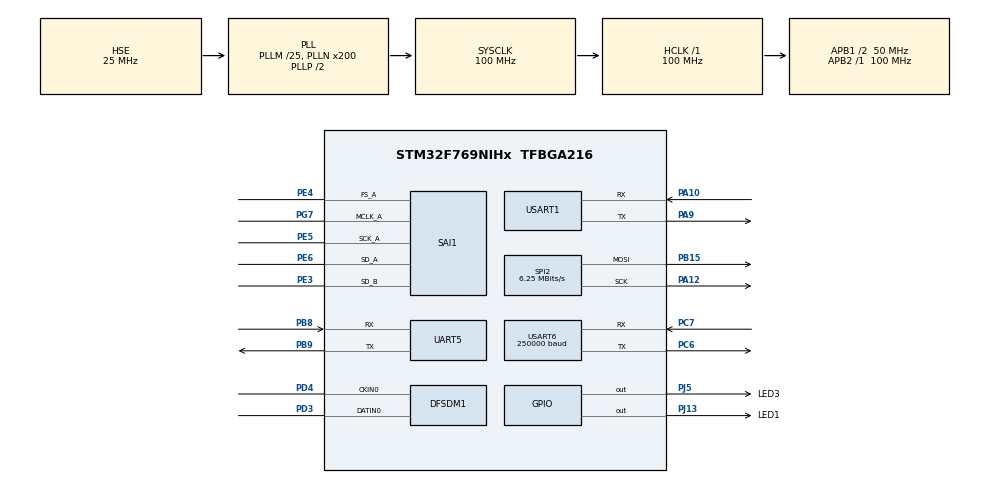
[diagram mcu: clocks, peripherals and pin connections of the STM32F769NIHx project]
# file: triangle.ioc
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Dma.Request0=USART6_RX
Dma.Request1=USART1_TX
Dma.Request2=SAI1_A
Dma.Request3=SAI1_B
Dma.Request4=UART5_TX
Dma.Request5=SPI2_TX
Dma.SAI1_A.2.Direction=DMA_MEMORY_TO_PERIPH
Dma.SAI1_A.2.FIFOMode=DMA_FIFOMODE_DISABLE
Dma.SAI1_A.2.Instance=DMA2_Stream3
Dma.SAI1_A.2.MemDataAlignment=DMA_MDATAALIGN_HALFWORD
Dma.SAI1_A.2.MemInc=DMA_MINC_ENABLE
Dma.SAI1_A.2.Mode=DMA_CIRCULAR
Dma.SAI1_A.2.PeriphDataAlignment=DMA_PDATAALIGN_HALFWORD
Dma.SAI1_A.2.PeriphInc=DMA_PINC_DISABLE
Dma.SAI1_A.2.Priority=DMA_PRIORITY_LOW
Dma.SAI1_B.3.Direction=DMA_PERIPH_TO_MEMORY
Dma.SAI1_B.3.FIFOMode=DMA_FIFOMODE_DISABLE
Dma.SAI1_B.3.Instance=DMA2_Stream0
Dma.SAI1_B.3.MemDataAlignment=DMA_MDATAALIGN_HALFWORD
Dma.SAI1_B.3.MemInc=DMA_MINC_ENABLE
Dma.SAI1_B.3.Mode=DMA_CIRCULAR
Dma.SAI1_B.3.PeriphDataAlignment=DMA_PDATAALIGN_HALFWORD
Dma.SAI1_B.3.PeriphInc=DMA_PINC_DISABLE
Dma.SAI1_B.3.Priority=DMA_PRIORITY_LOW
Dma.SPI2_TX.5.Direction=DMA_MEMORY_TO_PERIPH
Dma.SPI2_TX.5.FIFOMode=DMA_FIFOMODE_ENABLE
Dma.SPI2_TX.5.FIFOThreshold=DMA_FIFO_THRESHOLD_HALFFULL
Dma.SPI2_TX.5.Instance=DMA1_Stream4
Dma.SPI2_TX.5.MemBurst=DMA_MBURST_SINGLE
Dma.SPI2_TX.5.MemDataAlignment=DMA_MDATAALIGN_BYTE
Dma.SPI2_TX.5.MemInc=DMA_MINC_ENABLE
Dma.SPI2_TX.5.Mode=DMA_NORMAL
Dma.SPI2_TX.5.PeriphBurst=DMA_PBURST_SINGLE
Dma.SPI2_TX.5.PeriphDataAlignment=DMA_PDATAALIGN_BYTE
Dma.SPI2_TX.5.PeriphInc=DMA_PINC_DISABLE
Dma.SPI2_TX.5.Priority=DMA_PRIORITY_LOW
Dma.UART5_TX.4.Direction=DMA_MEMORY_TO_PERIPH
Dma.UART5_TX.4.FIFOMode=DMA_FIFOMODE_DISABLE
Dma.UART5_TX.4.Instance=DMA1_Stream7
Dma.UART5_TX.4.MemDataAlignment=DMA_MDATAALIGN_BYTE
Dma.UART5_TX.4.MemInc=DMA_MINC_ENABLE
Dma.UART5_TX.4.Mode=DMA_NORMAL
Dma.UART5_TX.4.PeriphDataAlignment=DMA_PDATAALIGN_BYTE
Dma.UART5_TX.4.PeriphInc=DMA_PINC_DISABLE
Dma.UART5_TX.4.Priority=DMA_PRIORITY_LOW
Dma.USART1_TX.1.Direction=DMA_MEMORY_TO_PERIPH
Dma.USART1_TX.1.FIFOMode=DMA_FIFOMODE_DISABLE
Dma.USART1_TX.1.Instance=DMA2_Stream7
Dma.USART1_TX.1.MemDataAlignment=DMA_MDATAALIGN_BYTE
Dma.USART1_TX.1.MemInc=DMA_MINC_ENABLE
Dma.USART1_TX.1.Mode=DMA_NORMAL
Dma.USART1_TX.1.PeriphDataAlignment=DMA_PDATAALIGN_BYTE
Dma.USART1_TX.1.PeriphInc=DMA_PINC_DISABLE
Dma.USART1_TX.1.Priority=DMA_PRIORITY_LOW
Dma.USART6_RX.0.Direction=DMA_PERIPH_TO_MEMORY
Dma.USART6_RX.0.FIFOMode=DMA_FIFOMODE_DISABLE
Dma.USART6_RX.0.Instance=DMA2_Stream1
Dma.USART6_RX.0.MemDataAlignment=DMA_MDATAALIGN_BYTE
Dma.USART6_RX.0.MemInc=DMA_MINC_ENABLE
Dma.USART6_RX.0.Mode=DMA_NORMAL
Dma.USART6_RX.0.PeriphDataAlignment=DMA_PDATAALIGN_BYTE
Dma.USART6_RX.0.PeriphInc=DMA_PINC_DISABLE
Dma.USART6_RX.0.Priority=DMA_PRIORITY_LOW
FREERTOS.Tasks01=defaultTask,24,128,StartDefaultTask,Default,NULL,Dynamic,NULL,NULL
FREERTOS.configENABLE_BACKWARD_COMPATIBILITY=1
FREERTOS.configENABLE_FPU=1
Mcu.Family=STM32F7
Mcu.Name=STM32F769NIHx
Mcu.Package=TFBGA216
NVIC.DMA1_Stream4_IRQn=true\:5\:0\:false\:false\:true\:true\:false\:true\:true
NVIC.DMA1_Stream7_IRQn=true\:5\:0\:false\:false\:true\:true\:false\:true\:true
NVIC.DMA2_Stream0_IRQn=true\:5\:0\:false\:false\:true\:true\:false\:true\:true
NVIC.DMA2_Stream1_IRQn=true\:5\:0\:false\:false\:true\:true\:false\:true\:true
NVIC.DMA2_Stream3_IRQn=true\:5\:0\:false\:false\:true\:true\:false\:true\:true
NVIC.DMA2_Stream7_IRQn=true\:5\:0\:false\:false\:true\:true\:false\:true\:true
NVIC.PriorityGroup=NVIC_PRIORITYGROUP_4
NVIC.SAI1_IRQn=true\:5\:0\:false\:false\:true\:true\:true\:true\:true
NVIC.TIM8_TRG_COM_TIM14_IRQn=true\:15\:0\:false\:false\:true\:false\:false\:true\:true
NVIC.TimeBase=TIM8_TRG_COM_TIM14_IRQn
NVIC.TimeBaseIP=TIM14
NVIC.UART5_IRQn=true\:5\:0\:false\:false\:true\:true\:true\:true\:true
NVIC.USART1_IRQn=true\:5\:0\:false\:false\:true\:true\:true\:true\:true
NVIC.USART6_IRQn=true\:5\:0\:false\:false\:true\:true\:true\:true\:true
PA10.Mode=Asynchronous
PA10.Signal=USART1_RX
PA12.Mode=TX_Only_Simplex_Unidirect_Master
PA12.Signal=SPI2_SCK
PA13.Mode=Serial_Wire
PA13.Signal=SYS_JTMS-SWDIO
PA14.Mode=Serial_Wire
PA14.Signal=SYS_JTCK-SWCLK
PA9.Mode=Asynchronous
PA9.Signal=USART1_TX
PB15.Mode=TX_Only_Simplex_Unidirect_Master
PB15.Signal=SPI2_MOSI
PB8.Mode=Asynchronous
PB8.Signal=UART5_RX
PB9.Mode=Asynchronous
PB9.Signal=UART5_TX
PC6.Mode=Asynchronous
PC6.Signal=USART6_TX
PC7.Mode=Asynchronous
PC7.Signal=USART6_RX
PD3.Signal=S_DATAIN0DFSDM1
PD4.Signal=S_CKIN0DFSDM1
PE3.Mode=SAI_B_SyncSlave
PE3.Signal=SAI1_SD_B
PE4.Mode=SAI_A_MasterWithClock
PE4.Signal=SAI1_FS_A
PE5.Mode=SAI_A_MasterWithClock
PE5.Signal=SAI1_SCK_A
PE6.Mode=SAI_A_MasterWithClock
PE6.Signal=SAI1_SD_A
PG7.Mode=SAI_A_MasterWithClock
PG7.Signal=SAI1_MCLK_A
PH0/OSC_IN.Mode=HSE-External-Oscillator
PH0/OSC_IN.Signal=RCC_OSC_IN
PH1/OSC_OUT.Mode=HSE-External-Oscillator
PH1/OSC_OUT.Signal=RCC_OSC_OUT
PJ13.GPIO_Label=LED1
PJ13.GPIO_ModeDefaultOutputPP=GPIO_MODE_OUTPUT_PP
PJ13.GPIO_PuPd=GPIO_NOPULL
PJ13.PinState=GPIO_PIN_SET
PJ13.Signal=GPIO_Output
PJ5.GPIO_Label=LED3
PJ5.PinState=GPIO_PIN_RESET
PJ5.Signal=GPIO_Output
ProjectManager.HeapSize=0x200
ProjectManager.StackSize=0x400
ProjectManager.TargetToolchain=STM32CubeIDE
RCC.AHBFreq_Value=100000000
RCC.APB1CLKDivider=RCC_HCLK_DIV2
RCC.APB1Freq_Value=50000000
RCC.APB1TimFreq_Value=100000000
RCC.APB2Freq_Value=100000000
RCC.APB2TimFreq_Value=100000000
RCC.CortexFreq_Value=100000000
RCC.HCLKFreq_Value=100000000
RCC.HSE_VALUE=25000000
RCC.HSI_VALUE=16000000
RCC.LSE_VALUE=32768
RCC.PLLM=25
RCC.PLLN=200
RCC.PLLQ=4
RCC.PLLSAIN=344
RCC.PLLSAIQ=7
RCC.PLLSourceVirtual=RCC_PLLSOURCE_HSE
RCC.SYSCLKFreq_VALUE=100000000
RCC.SYSCLKSource=RCC_SYSCLKSOURCE_PLLCLK
RCC.USBFreq_Value=50000000
RCC.VCOOutputFreq_Value=200000000
SAI1.AudioFrequency-SAI_A_MasterWithClock=SAI_AUDIO_FREQUENCY_48K
SAI1.ErrorAudioFreq-SAI_A_MasterWithClock=-0.01 %
SAI1.InitProtocol-SAI_A_MasterWithClock=Enable
SAI1.InitProtocol-SAI_B_SyncSlave=Enable
SAI1.Instance-SAI_A_MasterWithClock=SAI$Index_Block_A
SAI1.Instance-SAI_B_SyncSlave=SAI$Index_Block_B
SAI1.MClockEnable-SAI_A_MasterWithClock=SAI_MASTERCLOCK_ENABLE
SAI1.OutputDrive-SAI_A_MasterWithClock=SAI_OUTPUTDRIVE_ENABLE
SAI1.RealAudioFreq-SAI_A_MasterWithClock=47.991 KHz
SAI1.TriState-SAI_A_MasterWithClock=SAI_OUTPUT_NOTRELEASED
SAI1.VirtualMode-SAI_A_MasterWithClock=VM_MASTER
SAI1.VirtualMode-SAI_B_SyncSlave=VM_SLAVE
SAI1.VirtualProtocol-SAI_A_BASIC=VM_BASIC_PROTOCOL
SAI1.VirtualProtocol-SAI_B_BASIC=VM_BASIC_PROTOCOL
SH.S_CKIN0DFSDM1.0=DFSDM1_CKIN0,PDM_SPI_input_from_ch0_and_external_clock
SH.S_DATAIN0DFSDM1.0=DFSDM1_DATIN0,PDM_SPI_input_from_ch0_and_external_clock
SPI2.BaudRatePrescaler=SPI_BAUDRATEPRESCALER_8
SPI2.CalculateBaudRate=6.25 MBits/s
SPI2.DataSize=SPI_DATASIZE_8BIT
SPI2.Direction=SPI_DIRECTION_2LINES
SPI2.Mode=SPI_MODE_MASTER
SPI2.NSSPMode=SPI_NSS_PULSE_DISABLE
SPI2.VirtualType=VM_MASTER
USART1.VirtualMode-Asynchronous=VM_ASYNC
USART6.AutoBaudRateEnableParam=UART_ADVFEATURE_AUTOBAUDRATE_DISABLE
USART6.BaudRate=250000
USART6.DMADisableonRxErrorParam=ADVFEATURE_DMA_DISABLEONRXERROR
USART6.Mode=MODE_RX
USART6.OverrunDisableParam=ADVFEATURE_OVERRUN_DISABLE
USART6.StopBits=STOPBITS_2
USART6.VirtualMode-Asynchronous=VM_ASYNC
VP_FREERTOS_VS_CMSIS_V2.Mode=CMSIS_V2
VP_SAI1_VP_$IpInstance_SAIA_SAI_BASIC.Mode=SAI_A_BASIC
VP_SAI1_VP_$IpInstance_SAIB_SAI_BASIC.Mode=SAI_B_BASIC
VP_SYS_VS_tim14.Mode=TIM14
board=STM32F769I-DISC1

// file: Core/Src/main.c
/* USER CODE BEGIN Header */
/**
  ******************************************************************************
  * @file           : main.c
  * @brief          : Main program body
  ******************************************************************************
  * @attention
  *
  * Copyright (c) 2023 STMicroelectronics.
  * All rights reserved.
  *
  * This software is licensed under terms that can be found in the LICENSE file
  * in the root directory of this software component.
  * If no LICENSE file comes with this software, it is provided AS-IS.
  *
  ******************************************************************************
  */
/* USER CODE END Header */
#include "main.h"
#include "cmsis_os.h"

/* USER CODE BEGIN Includes */
#include "stm32f7xx_ll_usart.h"
#include "dmx.h"
#include "audio.h"
#include "led.h"
/* USER CODE END Includes */

DFSDM_Channel_HandleTypeDef hdfsdm1_channel0;

SAI_HandleTypeDef hsai_BlockA1;
SAI_HandleTypeDef hsai_BlockB1;
DMA_HandleTypeDef hdma_sai1_a;
DMA_HandleTypeDef hdma_sai1_b;

SPI_HandleTypeDef hspi2;
DMA_HandleTypeDef hdma_spi2_tx;

UART_HandleTypeDef huart5;
UART_HandleTypeDef huart1;
UART_HandleTypeDef huart6;
DMA_HandleTypeDef hdma_uart5_tx;
DMA_HandleTypeDef hdma_usart1_tx;
DMA_HandleTypeDef hdma_usart6_rx;

/* Definitions for defaultTask */
osThreadId_t defaultTaskHandle;
const osThreadAttr_t defaultTask_attributes = {
  .name = "defaultTask",
  .stack_size = 128 * 4,
  .priority = (osPriority_t) osPriorityNormal,
};

void SystemClock_Config(void);
void PeriphCommonClock_Config(void);
static void MX_GPIO_Init(void);
static void MX_DMA_Init(void);
static void MX_USART6_UART_Init(void);
static void MX_USART1_UART_Init(void);
static void MX_SAI1_Init(void);
static void MX_DFSDM1_Init(void);
static void MX_UART5_Init(void);
static void MX_SPI2_Init(void);
void StartDefaultTask(void *argument);

int main(void)
{

  /* MCU Configuration--------------------------------------------------------*/

  /* Reset of all peripherals, Initializes the Flash interface and the Systick. */
  HAL_Init();

  /* Configure the system clock */
  SystemClock_Config();

/* Configure the peripherals common clocks */
  PeriphCommonClock_Config();

  /* Initialize all configured peripherals */
  MX_GPIO_Init();
  MX_DMA_Init();
  MX_USART6_UART_Init();
  MX_USART1_UART_Init();
  MX_SAI1_Init();
  MX_DFSDM1_Init();
  MX_UART5_Init();
  MX_SPI2_Init();

  /* Init scheduler */
  osKernelInitialize();

  /* Create the thread(s) */
  /* creation of defaultTask */
  defaultTaskHandle = osThreadNew(StartDefaultTask, NULL, &defaultTask_attributes);

  /* USER CODE BEGIN RTOS_THREADS */

  /* Init audio */
  AUDIO_Init(&hsai_BlockB1, &hsai_BlockA1);

  /* add threads, ... */
  /* USER CODE END RTOS_THREADS */

  /* Start scheduler */
  osKernelStart();

  /* We should never get here as control is now taken by the scheduler */
  /* Infinite loop */
  while (1)
  {

  }
}

void SystemClock_Config(void)
{
  RCC_OscInitTypeDef RCC_OscInitStruct = {0};
  RCC_ClkInitTypeDef RCC_ClkInitStruct = {0};

  /** Configure the main internal regulator output voltage
  */
  __HAL_RCC_PWR_CLK_ENABLE();
  __HAL_PWR_VOLTAGESCALING_CONFIG(PWR_REGULATOR_VOLTAGE_SCALE3);

  /** Initializes the RCC Oscillators according to the specified parameters
  * in the RCC_OscInitTypeDef structure.
  */
  RCC_OscInitStruct.OscillatorType = RCC_OSCILLATORTYPE_HSE;
  RCC_OscInitStruct.HSEState = RCC_HSE_ON;
  RCC_OscInitStruct.PLL.PLLState = RCC_PLL_ON;
  RCC_OscInitStruct.PLL.PLLSource = RCC_PLLSOURCE_HSE;
  RCC_OscInitStruct.PLL.PLLM = 25;
  RCC_OscInitStruct.PLL.PLLN = 200;
  RCC_OscInitStruct.PLL.PLLP = RCC_PLLP_DIV2;
  RCC_OscInitStruct.PLL.PLLQ = 4;
  RCC_OscInitStruct.PLL.PLLR = 2;
  if (HAL_RCC_OscConfig(&RCC_OscInitStruct) != HAL_OK)
  {
    Error_Handler();
  }

  /** Activate the Over-Drive mode
  */
  if (HAL_PWREx_EnableOverDrive() != HAL_OK)
  {
    Error_Handler();
  }

  /** Initializes the CPU, AHB and APB buses clocks
  */
  RCC_ClkInitStruct.ClockType = RCC_CLOCKTYPE_HCLK|RCC_CLOCKTYPE_SYSCLK
                              |RCC_CLOCKTYPE_PCLK1|RCC_CLOCKTYPE_PCLK2;
  RCC_ClkInitStruct.SYSCLKSource = RCC_SYSCLKSOURCE_PLLCLK;
  RCC_ClkInitStruct.AHBCLKDivider = RCC_SYSCLK_DIV1;
  RCC_ClkInitStruct.APB1CLKDivider = RCC_HCLK_DIV2;
  RCC_ClkInitStruct.APB2CLKDivider = RCC_HCLK_DIV1;

  if (HAL_RCC_ClockConfig(&RCC_ClkInitStruct, FLASH_LATENCY_3) != HAL_OK)
  {
    Error_Handler();
  }
}

void PeriphCommonClock_Config(void)
{
  RCC_PeriphCLKInitTypeDef PeriphClkInitStruct = {0};

  /** Initializes the peripherals clock
  */
  PeriphClkInitStruct.PeriphClockSelection = RCC_PERIPHCLK_SAI1;
  PeriphClkInitStruct.PLLSAI.PLLSAIN = 344;
  PeriphClkInitStruct.PLLSAI.PLLSAIR = 2;
  PeriphClkInitStruct.PLLSAI.PLLSAIQ = 7;
  PeriphClkInitStruct.PLLSAI.PLLSAIP = RCC_PLLSAIP_DIV2;
  PeriphClkInitStruct.PLLSAIDivQ = 1;
  PeriphClkInitStruct.PLLSAIDivR = RCC_PLLSAIDIVR_2;
  PeriphClkInitStruct.Sai1ClockSelection = RCC_SAI1CLKSOURCE_PLLSAI;
  if (HAL_RCCEx_PeriphCLKConfig(&PeriphClkInitStruct) != HAL_OK)
  {
    Error_Handler();
  }
}

static void MX_DFSDM1_Init(void)
{

  hdfsdm1_channel0.Instance = DFSDM1_Channel0;
  hdfsdm1_channel0.Init.OutputClock.Activation = DISABLE;
  hdfsdm1_channel0.Init.OutputClock.Selection = DFSDM_CHANNEL_OUTPUT_CLOCK_SYSTEM;
  hdfsdm1_channel0.Init.OutputClock.Divider = 2;
  hdfsdm1_channel0.Init.Input.Multiplexer = DFSDM_CHANNEL_EXTERNAL_INPUTS;
  hdfsdm1_channel0.Init.Input.DataPacking = DFSDM_CHANNEL_STANDARD_MODE;
  hdfsdm1_channel0.Init.Input.Pins = DFSDM_CHANNEL_SAME_CHANNEL_PINS;
  hdfsdm1_channel0.Init.SerialInterface.Type = DFSDM_CHANNEL_SPI_RISING;
  hdfsdm1_channel0.Init.SerialInterface.SpiClock = DFSDM_CHANNEL_SPI_CLOCK_EXTERNAL;
  hdfsdm1_channel0.Init.Awd.FilterOrder = DFSDM_CHANNEL_FASTSINC_ORDER;
  hdfsdm1_channel0.Init.Awd.Oversampling = 1;
  hdfsdm1_channel0.Init.Offset = 0;
  hdfsdm1_channel0.Init.RightBitShift = 0x00;
  if (HAL_DFSDM_ChannelInit(&hdfsdm1_channel0) != HAL_OK)
  {
    Error_Handler();
  }

}

static void MX_SAI1_Init(void)
{

  hsai_BlockA1.Instance = SAI1_Block_A;
  hsai_BlockA1.Init.AudioMode = SAI_MODEMASTER_TX;
  hsai_BlockA1.Init.Synchro = SAI_ASYNCHRONOUS;
  hsai_BlockA1.Init.OutputDrive = SAI_OUTPUTDRIVE_ENABLE;
  hsai_BlockA1.Init.NoDivider = SAI_MASTERDIVIDER_ENABLE;
  hsai_BlockA1.Init.FIFOThreshold = SAI_FIFOTHRESHOLD_EMPTY;
  hsai_BlockA1.Init.AudioFrequency = SAI_AUDIO_FREQUENCY_48K;
  hsai_BlockA1.Init.SynchroExt = SAI_SYNCEXT_DISABLE;
  hsai_BlockA1.Init.MonoStereoMode = SAI_STEREOMODE;
  hsai_BlockA1.Init.CompandingMode = SAI_NOCOMPANDING;
  hsai_BlockA1.Init.TriState = SAI_OUTPUT_NOTRELEASED;
  if (HAL_SAI_InitProtocol(&hsai_BlockA1, SAI_I2S_STANDARD, SAI_PROTOCOL_DATASIZE_16BIT, 2) != HAL_OK)
  {
    Error_Handler();
  }
  hsai_BlockB1.Instance = SAI1_Block_B;
  hsai_BlockB1.Init.AudioMode = SAI_MODESLAVE_RX;
  hsai_BlockB1.Init.Synchro = SAI_SYNCHRONOUS;
  hsai_BlockB1.Init.OutputDrive = SAI_OUTPUTDRIVE_DISABLE;
  hsai_BlockB1.Init.FIFOThreshold = SAI_FIFOTHRESHOLD_EMPTY;
  hsai_BlockB1.Init.SynchroExt = SAI_SYNCEXT_DISABLE;
  hsai_BlockB1.Init.MonoStereoMode = SAI_STEREOMODE;
  hsai_BlockB1.Init.CompandingMode = SAI_NOCOMPANDING;
  hsai_BlockB1.Init.TriState = SAI_OUTPUT_NOTRELEASED;
  if (HAL_SAI_InitProtocol(&hsai_BlockB1, SAI_I2S_STANDARD, SAI_PROTOCOL_DATASIZE_16BIT, 2) != HAL_OK)
  {
    Error_Handler();
  }

}

static void MX_SPI2_Init(void)
{

  /* SPI2 parameter configuration*/
  hspi2.Instance = SPI2;
  hspi2.Init.Mode = SPI_MODE_MASTER;
  hspi2.Init.Direction = SPI_DIRECTION_2LINES;
  hspi2.Init.DataSize = SPI_DATASIZE_8BIT;
  hspi2.Init.CLKPolarity = SPI_POLARITY_LOW;
  hspi2.Init.CLKPhase = SPI_PHASE_1EDGE;
  hspi2.Init.NSS = SPI_NSS_SOFT;
  hspi2.Init.BaudRatePrescaler = SPI_BAUDRATEPRESCALER_8;
  hspi2.Init.FirstBit = SPI_FIRSTBIT_MSB;
  hspi2.Init.TIMode = SPI_TIMODE_DISABLE;
  hspi2.Init.CRCCalculation = SPI_CRCCALCULATION_DISABLE;
  hspi2.Init.CRCPolynomial = 7;
  hspi2.Init.CRCLength = SPI_CRC_LENGTH_DATASIZE;
  hspi2.Init.NSSPMode = SPI_NSS_PULSE_DISABLE;
  if (HAL_SPI_Init(&hspi2) != HAL_OK)
  {
    Error_Handler();
  }

}

static void MX_UART5_Init(void)
{

  huart5.Instance = UART5;
  huart5.Init.BaudRate = 115200;
  huart5.Init.WordLength = UART_WORDLENGTH_8B;
  huart5.Init.StopBits = UART_STOPBITS_1;
  huart5.Init.Parity = UART_PARITY_NONE;
  huart5.Init.Mode = UART_MODE_TX_RX;
  huart5.Init.HwFlowCtl = UART_HWCONTROL_NONE;
  huart5.Init.OverSampling = UART_OVERSAMPLING_16;
  huart5.Init.OneBitSampling = UART_ONE_BIT_SAMPLE_DISABLE;
  huart5.AdvancedInit.AdvFeatureInit = UART_ADVFEATURE_NO_INIT;
  if (HAL_UART_Init(&huart5) != HAL_OK)
  {
    Error_Handler();
  }

}

static void MX_USART1_UART_Init(void)
{

  huart1.Instance = USART1;
  huart1.Init.BaudRate = 115200;
  huart1.Init.WordLength = UART_WORDLENGTH_8B;
  huart1.Init.StopBits = UART_STOPBITS_1;
  huart1.Init.Parity = UART_PARITY_NONE;
  huart1.Init.Mode = UART_MODE_TX_RX;
  huart1.Init.HwFlowCtl = UART_HWCONTROL_NONE;
  huart1.Init.OverSampling = UART_OVERSAMPLING_16;
  huart1.Init.OneBitSampling = UART_ONE_BIT_SAMPLE_DISABLE;
  huart1.AdvancedInit.AdvFeatureInit = UART_ADVFEATURE_NO_INIT;
  if (HAL_UART_Init(&huart1) != HAL_OK)
  {
    Error_Handler();
  }

}

static void MX_USART6_UART_Init(void)
{

  huart6.Instance = USART6;
  huart6.Init.BaudRate = 250000;
  huart6.Init.WordLength = UART_WORDLENGTH_8B;
  huart6.Init.StopBits = UART_STOPBITS_2;
  huart6.Init.Parity = UART_PARITY_NONE;
  huart6.Init.Mode = UART_MODE_RX;
  huart6.Init.HwFlowCtl = UART_HWCONTROL_NONE;
  huart6.Init.OverSampling = UART_OVERSAMPLING_16;
  huart6.Init.OneBitSampling = UART_ONE_BIT_SAMPLE_DISABLE;
  huart6.AdvancedInit.AdvFeatureInit = UART_ADVFEATURE_RXOVERRUNDISABLE_INIT|UART_ADVFEATURE_DMADISABLEONERROR_INIT;
  huart6.AdvancedInit.OverrunDisable = UART_ADVFEATURE_OVERRUN_DISABLE;
  huart6.AdvancedInit.DMADisableonRxError = UART_ADVFEATURE_DMA_DISABLEONRXERROR;
  if (HAL_UART_Init(&huart6) != HAL_OK)
  {
    Error_Handler();
  }

}

static void MX_DMA_Init(void)
{

  /* DMA controller clock enable */
  __HAL_RCC_DMA2_CLK_ENABLE();
  __HAL_RCC_DMA1_CLK_ENABLE();

  /* DMA interrupt init */
  /* DMA1_Stream4_IRQn interrupt configuration */
  HAL_NVIC_SetPriority(DMA1_Stream4_IRQn, 5, 0);
  HAL_NVIC_EnableIRQ(DMA1_Stream4_IRQn);
  /* DMA1_Stream7_IRQn interrupt configuration */
  HAL_NVIC_SetPriority(DMA1_Stream7_IRQn, 5, 0);
  HAL_NVIC_EnableIRQ(DMA1_Stream7_IRQn);
  /* DMA2_Stream0_IRQn interrupt configuration */
  HAL_NVIC_SetPriority(DMA2_Stream0_IRQn, 5, 0);
  HAL_NVIC_EnableIRQ(DMA2_Stream0_IRQn);
  /* DMA2_Stream1_IRQn interrupt configuration */
  HAL_NVIC_SetPriority(DMA2_Stream1_IRQn, 5, 0);
  HAL_NVIC_EnableIRQ(DMA2_Stream1_IRQn);
  /* DMA2_Stream3_IRQn interrupt configuration */
  HAL_NVIC_SetPriority(DMA2_Stream3_IRQn, 5, 0);
  HAL_NVIC_EnableIRQ(DMA2_Stream3_IRQn);
  /* DMA2_Stream7_IRQn interrupt configuration */
  HAL_NVIC_SetPriority(DMA2_Stream7_IRQn, 5, 0);
  HAL_NVIC_EnableIRQ(DMA2_Stream7_IRQn);

}

static void MX_GPIO_Init(void)
{
  GPIO_InitTypeDef GPIO_InitStruct = {0};

  /* GPIO Ports Clock Enable */
  __HAL_RCC_GPIOE_CLK_ENABLE();
  __HAL_RCC_GPIOB_CLK_ENABLE();
  __HAL_RCC_GPIOA_CLK_ENABLE();
  __HAL_RCC_GPIOJ_CLK_ENABLE();
  __HAL_RCC_GPIOD_CLK_ENABLE();
  __HAL_RCC_GPIOH_CLK_ENABLE();
  __HAL_RCC_GPIOC_CLK_ENABLE();
  __HAL_RCC_GPIOG_CLK_ENABLE();

  /*Configure GPIO pin Output Level */
  HAL_GPIO_WritePin(LED1_GPIO_Port, LED1_Pin, GPIO_PIN_SET);

  /*Configure GPIO pin Output Level */
  HAL_GPIO_WritePin(LED3_GPIO_Port, LED3_Pin, GPIO_PIN_RESET);

  /*Configure GPIO pins : LED1_Pin LED3_Pin */
  GPIO_InitStruct.Pin = LED1_Pin|LED3_Pin;
  GPIO_InitStruct.Mode = GPIO_MODE_OUTPUT_PP;
  GPIO_InitStruct.Pull = GPIO_NOPULL;
  GPIO_InitStruct.Speed = GPIO_SPEED_FREQ_LOW;
  HAL_GPIO_Init(GPIOJ, &GPIO_InitStruct);

}

/* USER CODE BEGIN 4 */

// void HAL_UART_ErrorCallback(UART_HandleTypeDef *huart){
//   if (huart == &huart6) {
//     /* If error code is framing - assume that we have a break.
//      * Such that we can start the reception from the beginning. */
//     if ( huart->ErrorCode == HAL_UART_ERROR_FE) {
//       g_rxDmx = 1;
//     }
//   }
// }

// void HAL_UART_RxCpltCallback(UART_HandleTypeDef *huart){
// 	memcpy(tx_data, g_data, 5);
// 	HAL_UART_Transmit_IT(&huart1, &tx_data, 5);
// 	// Enable uart receiver to detect break condition.
// 	HAL_UART_Receive_DMA(&huart6, g_data, 6);
// }

//static void update_led_callback(DMX_Data* data) {
//    LED_SetAll(data->red, data->green, data->blue);
//    LED_Sync();
//}

static void raydance_dmx(DMX_Data* data) {
    /* Convert dmx data into AUDIO_Dynamic type */
    AUDIO_DynamicParams dynamic;

    dynamic.gain_dB = DMX_LogMap(data->gain, -40.0f, 24.0f);
    dynamic.band_compensation = DMX_LinMap(data->band_compensation, 0.0f, 1.0f);
    dynamic.contrast = 0.0; // currently unused and unmapped.
    dynamic.smoothing_factor = DMX_LinMap(data->smoothing, 0.5, 1.0);
    dynamic.animation_speed = DMX_SymmetricExpMap(data->animation_speed, 6.0f, 1.0f);
    #if DMX_ENABLE_RGB_COLOUR == 1
      dynamic.colour_a.red = data->colour_a.red;
      dynamic.colour_a.green = data->colour_a.green;
      dynamic.colour_a.blue = data->colour_a.blue;
      dynamic.colour_b.red = data->colour_b.red;
      dynamic.colour_b.green = data->colour_b.green;
      dynamic.colour_b.blue = data->colour_b.blue;
    #else
      float hue_a = DMX_LinMap(data->hue_a, 0, 360);
      float hue_b = DMX_LinMap(data->hue_b, 0, 360);
      LED_HsvToRgb(hue_a, 1.0, 1.0, (LED_RGB*)&dynamic.colour_a);
      LED_HsvToRgb(hue_b, 1.0, 1.0, (LED_RGB*)&dynamic.colour_b);
    #endif

    AUDIO_UpdateParams(&dynamic);
}
/* USER CODE END 4 */

void StartDefaultTask(void *argument)
{
  /* USER CODE BEGIN 5 */

  DMX_Init(&huart6, raydance_dmx);

  AUDIO_Start();

  /* Infinite loop */
  for(;;)
  {
    HAL_GPIO_TogglePin(GPIOJ, LED1_Pin|LED3_Pin);
    osDelay(200);
  }
  /* USER CODE END 5 */
}

void HAL_TIM_PeriodElapsedCallback(TIM_HandleTypeDef *htim)
{
  if (htim->Instance == TIM14) {
    HAL_IncTick();
  }
}

void Error_Handler(void)
{
  __disable_irq();
  while (1)
  {
  }
}
